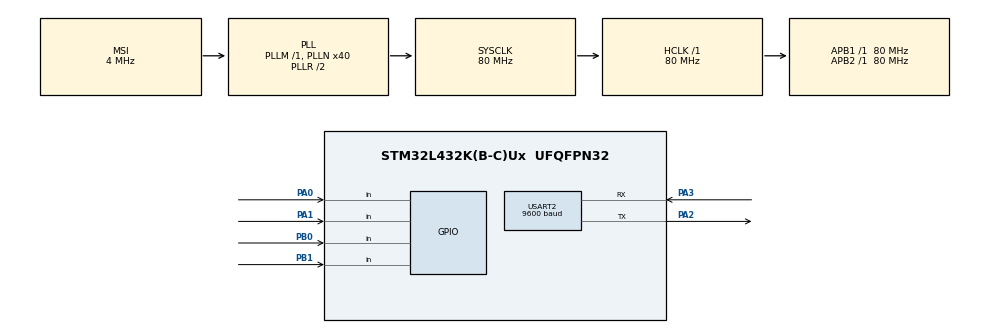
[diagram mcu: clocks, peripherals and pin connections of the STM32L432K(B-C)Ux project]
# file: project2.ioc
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Mcu.Family=STM32L4
Mcu.Name=STM32L432K(B-C)Ux
Mcu.Package=UFQFPN32
NVIC.PriorityGroup=NVIC_PRIORITYGROUP_4
PA0.Signal=GPIO_Input
PA1.Signal=GPIO_Input
PA13\ (JTMS-SWDIO).Mode=Serial_Wire
PA13\ (JTMS-SWDIO).Signal=SYS_JTMS-SWDIO
PA14\ (JTCK-SWCLK).Mode=Serial_Wire
PA14\ (JTCK-SWCLK).Signal=SYS_JTCK-SWCLK
PA2.Mode=Asynchronous
PA2.Signal=USART2_TX
PA3.Mode=Asynchronous
PA3.Signal=USART2_RX
PB0.Signal=GPIO_Input
PB1.Signal=GPIO_Input
PC14-OSC32_IN\ (PC14).Mode=LSE-External-Oscillator
PC14-OSC32_IN\ (PC14).Signal=RCC_OSC32_IN
PC15-OSC32_OUT\ (PC15).Mode=LSE-External-Oscillator
PC15-OSC32_OUT\ (PC15).Signal=RCC_OSC32_OUT
ProjectManager.HeapSize=0x200
ProjectManager.StackSize=0x400
ProjectManager.TargetToolchain=MDK-ARM V5
RCC.AHBFreq_Value=80000000
RCC.APB1Freq_Value=80000000
RCC.APB1TimFreq_Value=80000000
RCC.APB2Freq_Value=80000000
RCC.APB2TimFreq_Value=80000000
RCC.CortexFreq_Value=80000000
RCC.HCLKFreq_Value=80000000
RCC.HSE_VALUE=8000000
RCC.HSI48_VALUE=48000000
RCC.HSI_VALUE=16000000
RCC.MSI_VALUE=4000000
RCC.PLLN=40
RCC.SYSCLKFreq_VALUE=80000000
RCC.SYSCLKSource=RCC_SYSCLKSOURCE_PLLCLK
RCC.VCOOutputFreq_Value=160000000
USART2.BaudRate=9600
USART2.VirtualMode-Asynchronous=VM_ASYNC
board=custom

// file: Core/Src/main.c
/* USER CODE BEGIN Header */
/**
  ******************************************************************************
  * @file           : main.c
  * @brief          : Main program body
  ******************************************************************************
  * @attention
  *
  * <h2><center>&copy; Copyright (c) 2021 STMicroelectronics.
  * All rights reserved.</center></h2>
  *
  * This software component is licensed by ST under BSD 3-Clause license,
  * the "License"; You may not use this file except in compliance with the
  * License. You may obtain a copy of the License at:
  *                        opensource.org/licenses/BSD-3-Clause
  *
  ******************************************************************************
  */
/* USER CODE END Header */
#include "main.h"

UART_HandleTypeDef huart2;

/* USER CODE BEGIN PV */

	typedef struct {
	GPIO_TypeDef* port;
	uint16_t pin;
	char status;
	char* name; /* like "slot 1" */
	}slot;

	uint8_t nl[2] ="\r\n";

	int slots_num=2; /*number of slots*/
/* USER CODE END PV */

void SystemClock_Config(void);
static void MX_GPIO_Init(void);
static void MX_USART2_UART_Init(void);
/* USER CODE BEGIN PFP */
void readSensors(slot slots[4]);

/* USER CODE END PFP */

/* USER CODE BEGIN 0 */

void readSensors(slot slots[4])
{

for (int i=0;i<slots_num;i++)
	{
	if(HAL_GPIO_ReadPin(slots[i].port , slots[i].pin)== GPIO_PIN_RESET) /*obstacle is detected*/
		slots[i].status='F';
	else
		slots[i].status='E';

	HAL_UART_Transmit(&huart2,slots[i].name,10,5000);
	HAL_UART_Transmit(&huart2,&slots[i].status,1,5000);
	HAL_UART_Transmit(&huart2,nl,2,5000);

	}

}
/* USER CODE END 0 */

int main(void)
{

  /* MCU Configuration--------------------------------------------------------*/

  /* Reset of all peripherals, Initializes the Flash interface and the Systick. */
  HAL_Init();

  /* Configure the system clock */
  SystemClock_Config();

  /* Initialize all configured peripherals */
  MX_GPIO_Init();
  MX_USART2_UART_Init();

  /* Infinite loop */
  /* USER CODE BEGIN WHILE */

	slot slots[4];

	slots[0].name = "Slot 1";
	slots[0].port= GPIOA;
	slots[0].pin=GPIO_PIN_0;
	slots[0].status='E';

	slots[1].name = "Slot 2";
	slots[1].port= GPIOA;
	slots[1].pin=GPIO_PIN_1;
	slots[1].status='E';

	slots[2].name = "Slot 3";
	slots[2].port= GPIOB;
	slots[2].pin=GPIO_PIN_0;
	slots[2].status='E';

	slots[3].name = "Slot 4";
	slots[3].port= GPIOB;
	slots[3].pin=GPIO_PIN_1;
	slots[3].status='E';

  while (1)
  {

		readSensors(slots);

		HAL_Delay(1000);
    /* USER CODE END WHILE */

  }
}

void SystemClock_Config(void)
{
  RCC_OscInitTypeDef RCC_OscInitStruct = {0};
  RCC_ClkInitTypeDef RCC_ClkInitStruct = {0};
  RCC_PeriphCLKInitTypeDef PeriphClkInit = {0};

  /** Configure LSE Drive Capability
  */
  HAL_PWR_EnableBkUpAccess();
  __HAL_RCC_LSEDRIVE_CONFIG(RCC_LSEDRIVE_LOW);
  /** Initializes the RCC Oscillators according to the specified parameters
  * in the RCC_OscInitTypeDef structure.
  */
  RCC_OscInitStruct.OscillatorType = RCC_OSCILLATORTYPE_LSE|RCC_OSCILLATORTYPE_MSI;
  RCC_OscInitStruct.LSEState = RCC_LSE_ON;
  RCC_OscInitStruct.MSIState = RCC_MSI_ON;
  RCC_OscInitStruct.MSICalibrationValue = 0;
  RCC_OscInitStruct.MSIClockRange = RCC_MSIRANGE_6;
  RCC_OscInitStruct.PLL.PLLState = RCC_PLL_ON;
  RCC_OscInitStruct.PLL.PLLSource = RCC_PLLSOURCE_MSI;
  RCC_OscInitStruct.PLL.PLLM = 1;
  RCC_OscInitStruct.PLL.PLLN = 40;
  RCC_OscInitStruct.PLL.PLLP = RCC_PLLP_DIV7;
  RCC_OscInitStruct.PLL.PLLQ = RCC_PLLQ_DIV2;
  RCC_OscInitStruct.PLL.PLLR = RCC_PLLR_DIV2;
  if (HAL_RCC_OscConfig(&RCC_OscInitStruct) != HAL_OK)
  {
    Error_Handler();
  }
  /** Initializes the CPU, AHB and APB buses clocks
  */
  RCC_ClkInitStruct.ClockType = RCC_CLOCKTYPE_HCLK|RCC_CLOCKTYPE_SYSCLK
                              |RCC_CLOCKTYPE_PCLK1|RCC_CLOCKTYPE_PCLK2;
  RCC_ClkInitStruct.SYSCLKSource = RCC_SYSCLKSOURCE_PLLCLK;
  RCC_ClkInitStruct.AHBCLKDivider = RCC_SYSCLK_DIV1;
  RCC_ClkInitStruct.APB1CLKDivider = RCC_HCLK_DIV1;
  RCC_ClkInitStruct.APB2CLKDivider = RCC_HCLK_DIV1;

  if (HAL_RCC_ClockConfig(&RCC_ClkInitStruct, FLASH_LATENCY_4) != HAL_OK)
  {
    Error_Handler();
  }
  PeriphClkInit.PeriphClockSelection = RCC_PERIPHCLK_USART2;
  PeriphClkInit.Usart2ClockSelection = RCC_USART2CLKSOURCE_PCLK1;
  if (HAL_RCCEx_PeriphCLKConfig(&PeriphClkInit) != HAL_OK)
  {
    Error_Handler();
  }
  /** Configure the main internal regulator output voltage
  */
  if (HAL_PWREx_ControlVoltageScaling(PWR_REGULATOR_VOLTAGE_SCALE1) != HAL_OK)
  {
    Error_Handler();
  }
  /** Enable MSI Auto calibration
  */
  HAL_RCCEx_EnableMSIPLLMode();
}

static void MX_USART2_UART_Init(void)
{

  huart2.Instance = USART2;
  huart2.Init.BaudRate = 9600;
  huart2.Init.WordLength = UART_WORDLENGTH_8B;
  huart2.Init.StopBits = UART_STOPBITS_1;
  huart2.Init.Parity = UART_PARITY_NONE;
  huart2.Init.Mode = UART_MODE_TX_RX;
  huart2.Init.HwFlowCtl = UART_HWCONTROL_NONE;
  huart2.Init.OverSampling = UART_OVERSAMPLING_16;
  huart2.Init.OneBitSampling = UART_ONE_BIT_SAMPLE_DISABLE;
  huart2.AdvancedInit.AdvFeatureInit = UART_ADVFEATURE_NO_INIT;
  if (HAL_UART_Init(&huart2) != HAL_OK)
  {
    Error_Handler();
  }

}

static void MX_GPIO_Init(void)
{
  GPIO_InitTypeDef GPIO_InitStruct = {0};

  /* GPIO Ports Clock Enable */
  __HAL_RCC_GPIOC_CLK_ENABLE();
  __HAL_RCC_GPIOA_CLK_ENABLE();
  __HAL_RCC_GPIOB_CLK_ENABLE();

  /*Configure GPIO pins : PA0 PA1 */
  GPIO_InitStruct.Pin = GPIO_PIN_0|GPIO_PIN_1;
  GPIO_InitStruct.Mode = GPIO_MODE_INPUT;
  GPIO_InitStruct.Pull = GPIO_NOPULL;
  HAL_GPIO_Init(GPIOA, &GPIO_InitStruct);

  /*Configure GPIO pins : PB0 PB1 */
  GPIO_InitStruct.Pin = GPIO_PIN_0|GPIO_PIN_1;
  GPIO_InitStruct.Mode = GPIO_MODE_INPUT;
  GPIO_InitStruct.Pull = GPIO_NOPULL;
  HAL_GPIO_Init(GPIOB, &GPIO_InitStruct);

}

void Error_Handler(void)
{
  __disable_irq();
  while (1)
  {
  }
}

/************************ (C) COPYRIGHT STMicroelectronics *****END OF FILE****/
